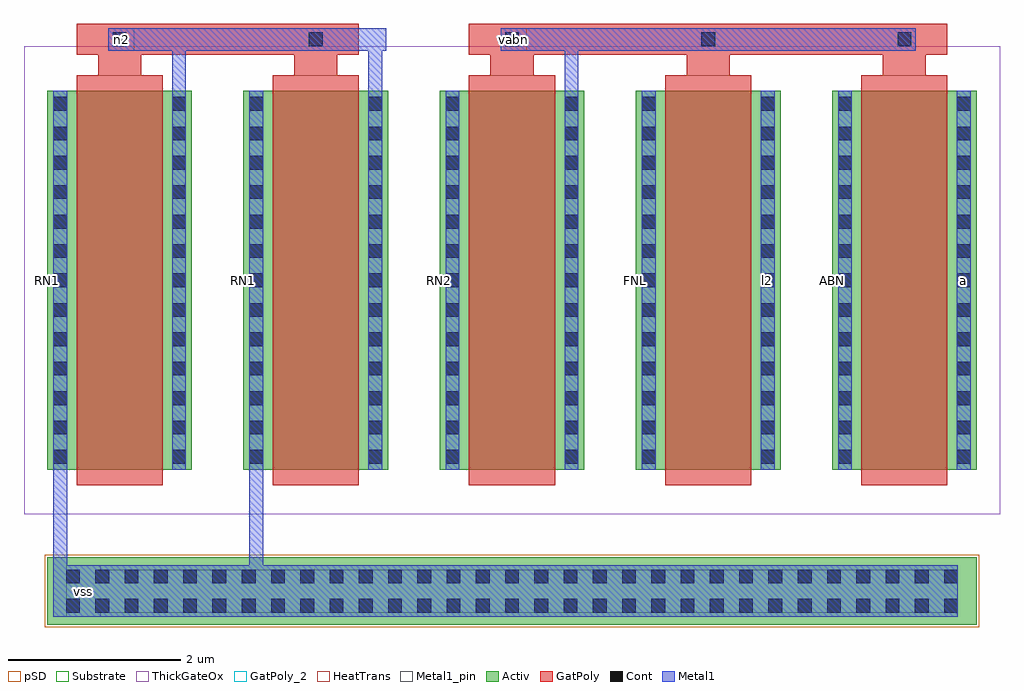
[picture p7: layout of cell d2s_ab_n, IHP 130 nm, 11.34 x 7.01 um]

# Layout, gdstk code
import gdstk
lib = gdstk.Library(unit=1e-6, precision=1e-09)
def R(c, l, rs):  # rectangles x0, y0, x1, y1
    for r in rs: c.add(gdstk.rectangle(r[:2], r[2:], *l))
def A(c, l, x, y, w, h, nx, ny, dx, dy):  # array of equal rectangles
    R(c, l, [(x+i*dx, y+j*dy, x+i*dx+w, y+j*dy+h) for i in range(nx) for j in range(ny)])
Activ = (1, 0)
GatPoly = (5, 0)
GatPoly_2 = (5, 2)
Cont = (6, 0)
Metal1 = (8, 0)
Metal1_pin = (8, 2)
pSD = (14, 0)
Substrate = (40, 0)
ThickGateOx = (44, 0)
HeatTrans = (51, 0)

nmoshv_3 = lib.new_cell('nmosHV$3')
R(nmoshv_3, Activ, [(0,0,0.3,0.3), (0,0,1.68,4.4), (1.38,0,1.68,0.3)])
R(nmoshv_3, GatPoly, [(0.34,-0.18,1.34,4.58)])
R(nmoshv_3, GatPoly_2, [(0.34,-0.18,1.34,4.58)])
A(nmoshv_3, Cont, 0.07, 0.07, 0.16, 0.16, 1, 3, 0, 0.34)
A(nmoshv_3, Cont, 1.45, 0.07, 0.16, 0.16, 1, 3, 0, 0.34)
A(nmoshv_3, Cont, 0.07, 1.095, 0.16, 0.16, 1, 3, 0, 0.34)
A(nmoshv_3, Cont, 1.45, 1.095, 0.16, 0.16, 1, 3, 0, 0.34)
A(nmoshv_3, Cont, 0.07, 2.12, 0.16, 0.16, 1, 3, 0, 0.34)
A(nmoshv_3, Cont, 1.45, 2.12, 0.16, 0.16, 1, 3, 0, 0.34)
A(nmoshv_3, Cont, 0.07, 3.145, 0.16, 0.16, 1, 3, 0, 0.34)
A(nmoshv_3, Cont, 1.45, 3.145, 0.16, 0.16, 1, 3, 0, 0.34)
R(nmoshv_3, Cont, [(0.07,4.17,0.23,4.33), (1.45,4.17,1.61,4.33)])
R(nmoshv_3, Metal1, [(0.07,0,0.23,4.4), (1.45,0,1.61,4.4)])
R(nmoshv_3, Metal1_pin, [(0.07,0,0.23,4.4), (1.45,0,1.61,4.4)])
R(nmoshv_3, ThickGateOx, [(-0.27,-0.52,1.95,4.92)])
R(nmoshv_3, HeatTrans, [(0.34,-0.18,1.34,4.58)])
nmoshv_3.add(gdstk.Label('nmosHV', (0.84,2.2), layer=63, texttype=0))
nmoshv_3.add(gdstk.Label('nmosHV', (0.84,2.2), layer=51, texttype=0))

ptap1_6 = lib.new_cell('ptap1$6')
R(ptap1_6, Activ, [(0,0,10.8,0.78)])
A(ptap1_6, Cont, 0.22, 0.14, 0.16, 0.16, 31, 2, 0.34, 0.34)
R(ptap1_6, Metal1, [(0.22,0.09,10.58,0.69), (0.22,0.14,10.58,0.64)])
R(ptap1_6, Metal1_pin, [(0.22,0.14,10.58,0.64)])
R(ptap1_6, pSD, [(-0.03,-0.03,10.83,0.81)])
R(ptap1_6, Substrate, [(0,0,10.8,0.78)])
ptap1_6.add(gdstk.Label('sub!', (5.4,0.01), layer=63, texttype=0))
ptap1_6.add(gdstk.Label('sub!', (5.4,0.01), layer=40, texttype=0))

d2s_ab_n = lib.new_cell('d2s_ab_n')
A(d2s_ab_n, GatPoly, 0.59, 4.4, 0.5, 0.43, 5, 1, 2.28, 0)
R(d2s_ab_n, GatPoly, [(0.34,4.82,3.62,5.18), (4.9,4.82,10.46,5.18)])
A(d2s_ab_n, Cont, 0.76, 4.92, 0.16, 0.16, 5, 1, 2.28, 0)
A(d2s_ab_n, Metal1, 1.45, 4.35, 0.16, 0.65, 3, 1, 2.28, 0)
R(d2s_ab_n, Metal1, [(0.07,-1.71,2.51,-1.11), (0.07,-1.21,0.23,0.05), (2.35,-1.21,2.51,0.05), (0.71,4.87,3.94,5.13), (5.27,4.87,10.09,5.13)])
R(d2s_ab_n, Metal1_pin, [(0.22,-1.71,0.62,-1.11), (4.63,1.95,4.79,2.45), (6.91,1.95,7.07,2.45), (8.29,1.95,8.45,2.45), (9.19,1.95,9.35,2.45), (10.57,1.95,10.73,2.45), (0.71,4.87,1.01,5.13), (5.27,4.87,5.57,5.13)])
R(d2s_ab_n, ThickGateOx, [(-0.27,-0.52,11.07,4.92)])
d2s_ab_n.add(gdstk.Reference(nmoshv_3, (0,0)))
d2s_ab_n.add(gdstk.Reference(nmoshv_3, (2.28,0)))
d2s_ab_n.add(gdstk.Reference(nmoshv_3, (4.56,0)))
d2s_ab_n.add(gdstk.Reference(nmoshv_3, (6.84,0)))
d2s_ab_n.add(gdstk.Reference(nmoshv_3, (9.12,0)))
d2s_ab_n.add(gdstk.Reference(ptap1_6, (0,-1.8)))
d2s_ab_n.add(gdstk.Label('RN1', (0,2.2), layer=63, texttype=0))
d2s_ab_n.add(gdstk.Label('RN1', (2.28,2.2), layer=63, texttype=0))
d2s_ab_n.add(gdstk.Label('RN2', (4.56,2.2), layer=63, texttype=0))
d2s_ab_n.add(gdstk.Label('FNL', (6.84,2.2), layer=63, texttype=0))
d2s_ab_n.add(gdstk.Label('ABN', (9.12,2.2), layer=63, texttype=0))
d2s_ab_n.add(gdstk.Label('n2', (0.86,5), layer=8, texttype=25))
d2s_ab_n.add(gdstk.Label('vabn', (5.42,5), layer=8, texttype=25))
d2s_ab_n.add(gdstk.Label('vss', (0.42,-1.41), layer=8, texttype=25))
d2s_ab_n.add(gdstk.Label('n2', (4.71,2.2), layer=8, texttype=25))
d2s_ab_n.add(gdstk.Label('l1', (6.99,2.2), layer=8, texttype=25))
d2s_ab_n.add(gdstk.Label('l2', (8.37,2.2), layer=8, texttype=25))
d2s_ab_n.add(gdstk.Label('b', (9.27,2.2), layer=8, texttype=25))
d2s_ab_n.add(gdstk.Label('a', (10.65,2.2), layer=8, texttype=25))

lib.write_gds('d2s_ab_n.gds')
